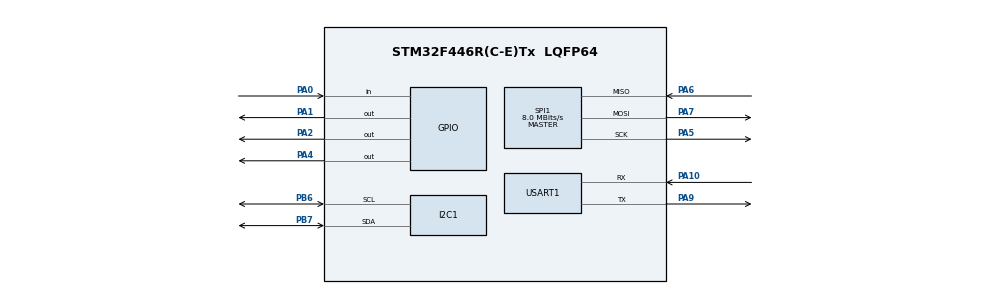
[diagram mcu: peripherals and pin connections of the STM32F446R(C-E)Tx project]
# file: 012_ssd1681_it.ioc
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Dma.I2C1_RX.0.Direction=DMA_PERIPH_TO_MEMORY
Dma.I2C1_RX.0.FIFOMode=DMA_FIFOMODE_DISABLE
Dma.I2C1_RX.0.Instance=DMA1_Stream0
Dma.I2C1_RX.0.MemDataAlignment=DMA_MDATAALIGN_BYTE
Dma.I2C1_RX.0.MemInc=DMA_MINC_ENABLE
Dma.I2C1_RX.0.Mode=DMA_NORMAL
Dma.I2C1_RX.0.PeriphDataAlignment=DMA_PDATAALIGN_BYTE
Dma.I2C1_RX.0.PeriphInc=DMA_PINC_DISABLE
Dma.I2C1_RX.0.Priority=DMA_PRIORITY_LOW
Dma.I2C1_TX.1.Direction=DMA_MEMORY_TO_PERIPH
Dma.I2C1_TX.1.FIFOMode=DMA_FIFOMODE_DISABLE
Dma.I2C1_TX.1.Instance=DMA1_Stream6
Dma.I2C1_TX.1.MemDataAlignment=DMA_MDATAALIGN_BYTE
Dma.I2C1_TX.1.MemInc=DMA_MINC_ENABLE
Dma.I2C1_TX.1.Mode=DMA_NORMAL
Dma.I2C1_TX.1.PeriphDataAlignment=DMA_PDATAALIGN_BYTE
Dma.I2C1_TX.1.PeriphInc=DMA_PINC_DISABLE
Dma.I2C1_TX.1.Priority=DMA_PRIORITY_LOW
Dma.Request0=I2C1_RX
Dma.Request1=I2C1_TX
Dma.Request2=SPI1_RX
Dma.Request3=SPI1_TX
Dma.Request4=USART1_RX
Dma.Request5=USART1_TX
Dma.SPI1_RX.2.Direction=DMA_PERIPH_TO_MEMORY
Dma.SPI1_RX.2.FIFOMode=DMA_FIFOMODE_DISABLE
Dma.SPI1_RX.2.Instance=DMA2_Stream0
Dma.SPI1_RX.2.MemDataAlignment=DMA_MDATAALIGN_BYTE
Dma.SPI1_RX.2.MemInc=DMA_MINC_ENABLE
Dma.SPI1_RX.2.Mode=DMA_NORMAL
Dma.SPI1_RX.2.PeriphDataAlignment=DMA_PDATAALIGN_BYTE
Dma.SPI1_RX.2.PeriphInc=DMA_PINC_DISABLE
Dma.SPI1_RX.2.Priority=DMA_PRIORITY_LOW
Dma.SPI1_TX.3.Direction=DMA_MEMORY_TO_PERIPH
Dma.SPI1_TX.3.FIFOMode=DMA_FIFOMODE_DISABLE
Dma.SPI1_TX.3.Instance=DMA2_Stream3
Dma.SPI1_TX.3.MemDataAlignment=DMA_MDATAALIGN_BYTE
Dma.SPI1_TX.3.MemInc=DMA_MINC_ENABLE
Dma.SPI1_TX.3.Mode=DMA_NORMAL
Dma.SPI1_TX.3.PeriphDataAlignment=DMA_PDATAALIGN_BYTE
Dma.SPI1_TX.3.PeriphInc=DMA_PINC_DISABLE
Dma.SPI1_TX.3.Priority=DMA_PRIORITY_LOW
Dma.USART1_RX.4.Direction=DMA_PERIPH_TO_MEMORY
Dma.USART1_RX.4.FIFOMode=DMA_FIFOMODE_DISABLE
Dma.USART1_RX.4.Instance=DMA2_Stream2
Dma.USART1_RX.4.MemDataAlignment=DMA_MDATAALIGN_BYTE
Dma.USART1_RX.4.MemInc=DMA_MINC_ENABLE
Dma.USART1_RX.4.Mode=DMA_NORMAL
Dma.USART1_RX.4.PeriphDataAlignment=DMA_PDATAALIGN_BYTE
Dma.USART1_RX.4.PeriphInc=DMA_PINC_DISABLE
Dma.USART1_RX.4.Priority=DMA_PRIORITY_LOW
Dma.USART1_TX.5.Direction=DMA_MEMORY_TO_PERIPH
Dma.USART1_TX.5.FIFOMode=DMA_FIFOMODE_DISABLE
Dma.USART1_TX.5.Instance=DMA2_Stream7
Dma.USART1_TX.5.MemDataAlignment=DMA_MDATAALIGN_BYTE
Dma.USART1_TX.5.MemInc=DMA_MINC_ENABLE
Dma.USART1_TX.5.Mode=DMA_NORMAL
Dma.USART1_TX.5.PeriphDataAlignment=DMA_PDATAALIGN_BYTE
Dma.USART1_TX.5.PeriphInc=DMA_PINC_DISABLE
Dma.USART1_TX.5.Priority=DMA_PRIORITY_LOW
Mcu.Family=STM32F4
Mcu.Name=STM32F446R(C-E)Tx
Mcu.Package=LQFP64
NVIC.DMA1_Stream0_IRQn=true\:0\:0\:false\:false\:true\:false\:true\:true
NVIC.DMA1_Stream6_IRQn=true\:0\:0\:false\:false\:true\:false\:true\:true
NVIC.DMA2_Stream0_IRQn=true\:0\:0\:false\:false\:true\:false\:true\:true
NVIC.DMA2_Stream2_IRQn=true\:0\:0\:false\:false\:true\:false\:true\:true
NVIC.DMA2_Stream3_IRQn=true\:0\:0\:false\:false\:true\:false\:true\:true
NVIC.DMA2_Stream7_IRQn=true\:0\:0\:false\:false\:true\:false\:true\:true
NVIC.I2C1_ER_IRQn=true\:0\:0\:false\:false\:true\:true\:true\:true
NVIC.I2C1_EV_IRQn=true\:0\:0\:false\:false\:true\:true\:true\:true
NVIC.PriorityGroup=NVIC_PRIORITYGROUP_4
NVIC.SPI1_IRQn=true\:0\:0\:false\:false\:true\:true\:true\:true
NVIC.USART1_IRQn=true\:0\:0\:false\:false\:true\:true\:true\:true
PA0-WKUP.Signal=GPIO_Input
PA1.Signal=GPIO_Output
PA10.Mode=Asynchronous
PA10.Signal=USART1_RX
PA2.Signal=GPIO_Output
PA4.Signal=GPIO_Output
PA5.Mode=Full_Duplex_Master
PA5.Signal=SPI1_SCK
PA6.Mode=Full_Duplex_Master
PA6.Signal=SPI1_MISO
PA7.Mode=Full_Duplex_Master
PA7.Signal=SPI1_MOSI
PA9.Mode=Asynchronous
PA9.Signal=USART1_TX
PB6.Mode=I2C
PB6.Signal=I2C1_SCL
PB7.Mode=I2C
PB7.Signal=I2C1_SDA
ProjectManager.HeapSize=0x200
ProjectManager.StackSize=0x400
ProjectManager.TargetToolchain=STM32CubeIDE
RCC.CortexFreq_Value=16000000
RCC.USBFreq_Value=96000000
RCC.VCOOutputFreq_Value=192000000
SPI1.CalculateBaudRate=8.0 MBits/s
SPI1.Direction=SPI_DIRECTION_2LINES
SPI1.Mode=SPI_MODE_MASTER
SPI1.VirtualType=VM_MASTER
USART1.VirtualMode=VM_ASYNC
board=custom

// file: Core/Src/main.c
/* USER CODE BEGIN Header */
/**
  ******************************************************************************
  * @file           : main.c
  * @brief          : Main program body
  ******************************************************************************
  * @attention
  *
  * Copyright (c) 2025 STMicroelectronics.
  * All rights reserved.
  *
  * This software is licensed under terms that can be found in the LICENSE file
  * in the root directory of this software component.
  * If no LICENSE file comes with this software, it is provided AS-IS.
  *
  ******************************************************************************
  */
/* USER CODE END Header */
#include "main.h"

/* USER CODE BEGIN Includes */
#include "driver_dht20.h"
#include "driver_dht20_interface.h"
#include "driver_ssd1681.h"
#include "driver_ssd1681_interface.h"
#include <stdio.h>
#include <string.h>
/* USER CODE END Includes */

I2C_HandleTypeDef hi2c1;
DMA_HandleTypeDef hdma_i2c1_rx;
DMA_HandleTypeDef hdma_i2c1_tx;

SPI_HandleTypeDef hspi1;
DMA_HandleTypeDef hdma_spi1_rx;
DMA_HandleTypeDef hdma_spi1_tx;

UART_HandleTypeDef huart1;
DMA_HandleTypeDef hdma_usart1_rx;
DMA_HandleTypeDef hdma_usart1_tx;

/* USER CODE BEGIN PV */
RingBuffer txBuf, rxBuf;
dht20_handle_t dht20_handle;
ssd1681_handle_t ssd1681_handle;

// display buffer for temperature and humidity
char display_buffer[256];
/* USER CODE END PV */

void SystemClock_Config(void);
static void MX_GPIO_Init(void);
static void MX_DMA_Init(void);
static void MX_I2C1_Init(void);
static void MX_SPI1_Init(void);
static void MX_USART1_UART_Init(void);
/* USER CODE BEGIN PFP */
uint8_t dht20_basic_init(void);
uint8_t dht20_basic_deinit(void);
uint8_t dht20_basic_read(uint32_t *temperature_raw, float *temperature_s,
		uint32_t *humidity_raw, uint8_t *humidity_s);

uint8_t ssd1681_basic_init(void);
uint8_t ssd1681_basic_deinit(void);
uint8_t ssd1681_display_temperature_humidity(float temp, uint8_t hum);

uint8_t test_ssd1681_interrupt_performance(void);
/* USER CODE END PFP */

int main(void)
{

  /* USER CODE BEGIN 1 */
	  uint32_t temperature_raw, humidity_raw;
	  float temperature_s;
	  uint8_t humidity_s;
	  uint8_t res;
	  uint32_t last_read_time = 0;
	  uint32_t last_display_update = 0;
	  uint32_t read_count = 0;
  /* USER CODE END 1 */

  /* MCU Configuration--------------------------------------------------------*/

  /* Reset of all peripherals, Initializes the Flash interface and the Systick. */
  HAL_Init();

  /* Configure the system clock */
  SystemClock_Config();

  /* Initialize all configured peripherals */
  MX_GPIO_Init();
  MX_DMA_Init();
  MX_I2C1_Init();
  MX_SPI1_Init();
  MX_USART1_UART_Init();
  /* USER CODE BEGIN 2 */

  RingBuffer_Init(&txBuf);
  RingBuffer_Init(&rxBuf);

  dht20_interface_debug_print("\r\n=== DHT20 Temperature & Humidity Sensor with SSD1681 E-Paper Display ===\r\n");
  dht20_interface_debug_print("System Clock: %lu Hz\r\n", SystemCoreClock);
  dht20_interface_debug_print("I2C Mode: Interrupt-based, SPI Mode: DMA\r\n");

  dht20_interface_debug_print("Initializing DHT20...\r\n");

  // init dht20
  res = dht20_basic_init();
  if (res != 0)
  {
	  dht20_interface_debug_print("DHT20 initialization failed!\r\n");
	  Error_Handler();
  }
  dht20_interface_debug_print("DHT20 initialized successfully!\r\n");

  dht20_interface_debug_print("Initializing SSD1681 E-Paper Display...\r\n");

  // SSD1681
  res = ssd1681_basic_init();
  if (res != 0)
  {
	  dht20_interface_debug_print("SSD1681 initialization failed!\r\n");
	  Error_Handler();
  }
  dht20_interface_debug_print("SSD1681 initialized successfully!\r\n");
  dht20_interface_debug_print("Starting measurements...\r\n\r\n");

  // check dma
//  test_ssd1681_interrupt_performance();

  // clear display initially
  ssd1681_clear(&ssd1681_handle, SSD1681_COLOR_BLACK);
  ssd1681_gram_update(&ssd1681_handle, SSD1681_COLOR_BLACK);
  /* USER CODE END 2 */

  /* Infinite loop */
  /* USER CODE BEGIN WHILE */
  while (1)
  {
	  if (HAL_GetTick() - last_read_time >= 5000)
	  {
		  last_read_time = HAL_GetTick();
		  read_count++;

		  dht20_interface_debug_print("Reading #%lu...\r\n", (unsigned long)read_count);

		  /* read temp and humid */
		  uint32_t read_start_time = HAL_GetTick();
		  res = dht20_basic_read(&temperature_raw, &temperature_s, &humidity_raw, &humidity_s);
		  uint32_t read_duration = HAL_GetTick() - read_start_time;

		  if (res == 0)
		  {
			  // results
			  dht20_interface_debug_print("--- DHT20 Reading #%lu ---\r\n", (unsigned long)read_count);
			  dht20_interface_debug_print("Temperature: %.2f°C (Raw: %lu)\r\n",
					  temperature_s, (unsigned long)temperature_raw);
			  dht20_interface_debug_print("Humidity: %d%% (Raw: %lu)\r\n",
					  humidity_s, (unsigned long)humidity_raw);
			  dht20_interface_debug_print("Read Duration: %lu ms\r\n", (unsigned long)read_duration);
			  dht20_interface_debug_print("Timestamp: %lu ms\r\n", (unsigned long)HAL_GetTick());

			  // check values
			  if (temperature_s < -40.0f || temperature_s > 80.0f)
			  {
				  dht20_interface_debug_print("WARNING: Temperature out of expected range!\r\n");
			  }
			  if (humidity_s > 100)
			  {
				  dht20_interface_debug_print("WARNING: Humidity out of expected range!\r\n");
			  }

			  // update display with new data every 10 seconds or on first successful read
			  if (HAL_GetTick() - last_display_update >= 10000 || last_display_update == 0)
			  {
				  last_display_update = HAL_GetTick();
				  dht20_interface_debug_print("Updating E-Paper Display...\r\n");

				  res = ssd1681_display_temperature_humidity(temperature_s, humidity_s);
				  if (res == 0)
				  {
					  dht20_interface_debug_print("Display updated successfully!\r\n");
				  }
				  else
				  {
					  dht20_interface_debug_print("Display update failed!\r\n");
				  }
			  }

			  dht20_interface_debug_print("\r\n");
		  }
		  else
		  {
			  dht20_interface_debug_print("DHT20 read failed! Error code: %d\r\n", res);
			  dht20_interface_debug_print("Read Duration: %lu ms\r\n", (unsigned long)read_duration);
			  dht20_interface_debug_print("Attempting to continue...\r\n\r\n");
		  }
	  }
	  HAL_Delay(100);
    /* USER CODE END WHILE */

  }
}

void SystemClock_Config(void)
{
  RCC_OscInitTypeDef RCC_OscInitStruct = {0};
  RCC_ClkInitTypeDef RCC_ClkInitStruct = {0};

  /** Configure the main internal regulator output voltage
  */
  __HAL_RCC_PWR_CLK_ENABLE();
  __HAL_PWR_VOLTAGESCALING_CONFIG(PWR_REGULATOR_VOLTAGE_SCALE3);

  /** Initializes the RCC Oscillators according to the specified parameters
  * in the RCC_OscInitTypeDef structure.
  */
  RCC_OscInitStruct.OscillatorType = RCC_OSCILLATORTYPE_HSI;
  RCC_OscInitStruct.HSIState = RCC_HSI_ON;
  RCC_OscInitStruct.HSICalibrationValue = RCC_HSICALIBRATION_DEFAULT;
  RCC_OscInitStruct.PLL.PLLState = RCC_PLL_NONE;
  if (HAL_RCC_OscConfig(&RCC_OscInitStruct) != HAL_OK)
  {
    Error_Handler();
  }

  /** Initializes the CPU, AHB and APB buses clocks
  */
  RCC_ClkInitStruct.ClockType = RCC_CLOCKTYPE_HCLK|RCC_CLOCKTYPE_SYSCLK
                              |RCC_CLOCKTYPE_PCLK1|RCC_CLOCKTYPE_PCLK2;
  RCC_ClkInitStruct.SYSCLKSource = RCC_SYSCLKSOURCE_HSI;
  RCC_ClkInitStruct.AHBCLKDivider = RCC_SYSCLK_DIV1;
  RCC_ClkInitStruct.APB1CLKDivider = RCC_HCLK_DIV1;
  RCC_ClkInitStruct.APB2CLKDivider = RCC_HCLK_DIV1;

  if (HAL_RCC_ClockConfig(&RCC_ClkInitStruct, FLASH_LATENCY_0) != HAL_OK)
  {
    Error_Handler();
  }
}

static void MX_I2C1_Init(void)
{

  hi2c1.Instance = I2C1;
  hi2c1.Init.ClockSpeed = 100000;
  hi2c1.Init.DutyCycle = I2C_DUTYCYCLE_2;
  hi2c1.Init.OwnAddress1 = 0;
  hi2c1.Init.AddressingMode = I2C_ADDRESSINGMODE_7BIT;
  hi2c1.Init.DualAddressMode = I2C_DUALADDRESS_DISABLE;
  hi2c1.Init.OwnAddress2 = 0;
  hi2c1.Init.GeneralCallMode = I2C_GENERALCALL_DISABLE;
  hi2c1.Init.NoStretchMode = I2C_NOSTRETCH_DISABLE;
  if (HAL_I2C_Init(&hi2c1) != HAL_OK)
  {
    Error_Handler();
  }

}

static void MX_SPI1_Init(void)
{

  /* SPI1 parameter configuration*/
  hspi1.Instance = SPI1;
  hspi1.Init.Mode = SPI_MODE_MASTER;
  hspi1.Init.Direction = SPI_DIRECTION_2LINES;
  hspi1.Init.DataSize = SPI_DATASIZE_8BIT;
  hspi1.Init.CLKPolarity = SPI_POLARITY_LOW;
  hspi1.Init.CLKPhase = SPI_PHASE_1EDGE;
  hspi1.Init.NSS = SPI_NSS_SOFT;
  hspi1.Init.BaudRatePrescaler = SPI_BAUDRATEPRESCALER_2;
  hspi1.Init.FirstBit = SPI_FIRSTBIT_MSB;
  hspi1.Init.TIMode = SPI_TIMODE_DISABLE;
  hspi1.Init.CRCCalculation = SPI_CRCCALCULATION_DISABLE;
  hspi1.Init.CRCPolynomial = 10;
  if (HAL_SPI_Init(&hspi1) != HAL_OK)
  {
    Error_Handler();
  }

}

static void MX_USART1_UART_Init(void)
{

  huart1.Instance = USART1;
  huart1.Init.BaudRate = 115200;
  huart1.Init.WordLength = UART_WORDLENGTH_8B;
  huart1.Init.StopBits = UART_STOPBITS_1;
  huart1.Init.Parity = UART_PARITY_NONE;
  huart1.Init.Mode = UART_MODE_TX_RX;
  huart1.Init.HwFlowCtl = UART_HWCONTROL_NONE;
  huart1.Init.OverSampling = UART_OVERSAMPLING_16;
  if (HAL_UART_Init(&huart1) != HAL_OK)
  {
    Error_Handler();
  }

}

static void MX_DMA_Init(void)
{

  /* DMA controller clock enable */
  __HAL_RCC_DMA1_CLK_ENABLE();
  __HAL_RCC_DMA2_CLK_ENABLE();

  /* DMA interrupt init */
  /* DMA1_Stream0_IRQn interrupt configuration */
  HAL_NVIC_SetPriority(DMA1_Stream0_IRQn, 0, 0);
  HAL_NVIC_EnableIRQ(DMA1_Stream0_IRQn);
  /* DMA1_Stream6_IRQn interrupt configuration */
  HAL_NVIC_SetPriority(DMA1_Stream6_IRQn, 0, 0);
  HAL_NVIC_EnableIRQ(DMA1_Stream6_IRQn);
  /* DMA2_Stream0_IRQn interrupt configuration */
  HAL_NVIC_SetPriority(DMA2_Stream0_IRQn, 0, 0);
  HAL_NVIC_EnableIRQ(DMA2_Stream0_IRQn);
  /* DMA2_Stream2_IRQn interrupt configuration */
  HAL_NVIC_SetPriority(DMA2_Stream2_IRQn, 0, 0);
  HAL_NVIC_EnableIRQ(DMA2_Stream2_IRQn);
  /* DMA2_Stream3_IRQn interrupt configuration */
  HAL_NVIC_SetPriority(DMA2_Stream3_IRQn, 0, 0);
  HAL_NVIC_EnableIRQ(DMA2_Stream3_IRQn);
  /* DMA2_Stream7_IRQn interrupt configuration */
  HAL_NVIC_SetPriority(DMA2_Stream7_IRQn, 0, 0);
  HAL_NVIC_EnableIRQ(DMA2_Stream7_IRQn);

}

static void MX_GPIO_Init(void)
{
  GPIO_InitTypeDef GPIO_InitStruct = {0};

  /* GPIO Ports Clock Enable */
  __HAL_RCC_GPIOA_CLK_ENABLE();
  __HAL_RCC_GPIOB_CLK_ENABLE();

  /*Configure GPIO pin Output Level */
  HAL_GPIO_WritePin(GPIOA, GPIO_PIN_1|GPIO_PIN_2|GPIO_PIN_4, GPIO_PIN_RESET);

  /*Configure GPIO pin : PA0 */
  GPIO_InitStruct.Pin = GPIO_PIN_0;
  GPIO_InitStruct.Mode = GPIO_MODE_INPUT;
  GPIO_InitStruct.Pull = GPIO_NOPULL;
  HAL_GPIO_Init(GPIOA, &GPIO_InitStruct);

  /*Configure GPIO pins : PA1 PA2 PA4 */
  GPIO_InitStruct.Pin = GPIO_PIN_1|GPIO_PIN_2|GPIO_PIN_4;
  GPIO_InitStruct.Mode = GPIO_MODE_OUTPUT_PP;
  GPIO_InitStruct.Pull = GPIO_NOPULL;
  GPIO_InitStruct.Speed = GPIO_SPEED_FREQ_LOW;
  HAL_GPIO_Init(GPIOA, &GPIO_InitStruct);

}

/* USER CODE BEGIN 4 */
uint8_t UART_Transmit(UART_HandleTypeDef *huart, uint8_t *pData, uint16_t len)
{
  if (huart->gState == HAL_UART_STATE_READY)
  {
    if (HAL_UART_Transmit_IT(huart, pData, len) == HAL_OK)
    {
      return 1;
    }
  }

  // If UART is busy, store in ring buffer
  if (RingBuffer_Write(&txBuf, pData, len) == RING_BUFFER_OK)
  {
    return 1;
  }

  return 0;
}

uint8_t dht20_basic_init(void)
{
    uint8_t res;

    /* link interface function */
    DRIVER_DHT20_LINK_INIT(&dht20_handle, dht20_handle_t);
    DRIVER_DHT20_LINK_IIC_INIT(&dht20_handle, dht20_interface_iic_init);
    DRIVER_DHT20_LINK_IIC_DEINIT(&dht20_handle, dht20_interface_iic_deinit);
    DRIVER_DHT20_LINK_IIC_READ_CMD(&dht20_handle, dht20_interface_iic_read_cmd);
    DRIVER_DHT20_LINK_IIC_WRITE_CMD(&dht20_handle, dht20_interface_iic_write_cmd);
    DRIVER_DHT20_LINK_DELAY_MS(&dht20_handle, dht20_interface_delay_ms);
    DRIVER_DHT20_LINK_DEBUG_PRINT(&dht20_handle, dht20_interface_debug_print);

    /* dht20 init */
    res = dht20_init(&dht20_handle);
    if (res != 0)
    {
        dht20_interface_debug_print("dht20: init failed.\n");
        return 1;
    }

    return 0;
}

uint8_t dht20_basic_deinit(void)
{
    uint8_t res;

    /* close dht20 */
    res = dht20_deinit(&dht20_handle);
    if (res != 0)
    {
        return 1;
    }

    return 0;
}

uint8_t dht20_basic_read(uint32_t *temperature_raw, float *temperature_s,
		uint32_t *humidity_raw, uint8_t *humidity_s)
{
    uint8_t res;

    /* read temperature and humidity */
    res = dht20_read_temperature_humidity(&dht20_handle, temperature_raw, temperature_s,
                                          humidity_raw, humidity_s);
    if (res != 0)
    {
        return 1;
    }

    return 0;
}

uint8_t ssd1681_basic_init(void)
{
	uint8_t res;

	res = ssd1681_interface_cs_gpio_init();
	if (res != 0)
	{
		ssd1681_interface_debug_print("ssd1681: cs gpio init failed.\n");
		return 1;
	}

	// link interface function
    DRIVER_SSD1681_LINK_INIT(&ssd1681_handle, ssd1681_handle_t);
    DRIVER_SSD1681_LINK_SPI_INIT(&ssd1681_handle, ssd1681_interface_spi_init);
    DRIVER_SSD1681_LINK_SPI_DEINIT(&ssd1681_handle, ssd1681_interface_spi_deinit);
    DRIVER_SSD1681_LINK_SPI_WRITE_CMD(&ssd1681_handle, ssd1681_interface_spi_write_cmd);
    DRIVER_SSD1681_LINK_SPI_READ_CMD(&ssd1681_handle, ssd1681_interface_spi_read_cmd);
    DRIVER_SSD1681_LINK_SPI_CMD_DATA_GPIO_INIT(&ssd1681_handle, ssd1681_interface_spi_cmd_data_gpio_init);
    DRIVER_SSD1681_LINK_SPI_CMD_DATA_GPIO_DEINIT(&ssd1681_handle, ssd1681_interface_spi_cmd_data_gpio_deinit);
    DRIVER_SSD1681_LINK_SPI_CMD_DATA_GPIO_WRITE(&ssd1681_handle, ssd1681_interface_spi_cmd_data_gpio_write);
    DRIVER_SSD1681_LINK_RESET_GPIO_INIT(&ssd1681_handle, ssd1681_interface_reset_gpio_init);
    DRIVER_SSD1681_LINK_RESET_GPIO_DEINIT(&ssd1681_handle, ssd1681_interface_reset_gpio_deinit);
    DRIVER_SSD1681_LINK_RESET_GPIO_WRITE(&ssd1681_handle, ssd1681_interface_reset_gpio_write);
    DRIVER_SSD1681_LINK_BUSY_GPIO_INIT(&ssd1681_handle, ssd1681_interface_busy_gpio_init);
    DRIVER_SSD1681_LINK_BUSY_GPIO_DEINIT(&ssd1681_handle, ssd1681_interface_busy_gpio_deinit);
    DRIVER_SSD1681_LINK_BUSY_GPIO_READ(&ssd1681_handle, ssd1681_interface_busy_gpio_read);
    DRIVER_SSD1681_LINK_DELAY_MS(&ssd1681_handle, ssd1681_interface_delay_ms);
    DRIVER_SSD1681_LINK_DEBUG_PRINT(&ssd1681_handle, ssd1681_interface_debug_print);

    res = ssd1681_init(&ssd1681_handle);
    if (res != 0)
    {
        ssd1681_interface_debug_print("ssd1681: init failed.\n");
        return 1;
    }

    return 0;
}

uint8_t ssd1681_basic_deinit(void)
{
    uint8_t res;

    // close ssd1681
    res = ssd1681_deinit(&ssd1681_handle);
    if (res != 0)
    {
        return 1;
    }

    return 0;
}

uint8_t ssd1681_display_temperature_humidity(float temp, uint8_t hum)
{
	uint8_t res;
	char temp_str[32];
	char hum_str[32];
	char time_str[32];
	uint32_t current_time = HAL_GetTick() / 1000;

	// clear the display first
	res = ssd1681_gram_clear(&ssd1681_handle, SSD1681_COLOR_BLACK);
	if (res != 0)
	{
		return 1;
	}

	// format temperature string
	snprintf(temp_str, sizeof(temp_str), "temp: %.1f C", temp);

	// format humidity string
	snprintf(hum_str, sizeof(hum_str), "humidity: %d%%", hum);

	// format time string
	uint32_t hours = current_time / 3600;
	uint32_t minutes = (current_time % 3600) / 60;
	uint32_t seconds = current_time % 60;
	snprintf(time_str, sizeof(time_str), "time: %02lu:%02lu:%02lu",
			(unsigned long)hours, (unsigned long)minutes, (unsigned long)seconds);

	// write text to display
	res = ssd1681_gram_write_string(&ssd1681_handle, SSD1681_COLOR_BLACK, 10, 30,
	                                    temp_str, strlen(temp_str), 1, SSD1681_FONT_16);
    if (res != 0)
    {
        return 1;
    }

    res = ssd1681_gram_write_string(&ssd1681_handle, SSD1681_COLOR_BLACK, 10, 60,
                                        hum_str, strlen(hum_str), 1, SSD1681_FONT_16);
    if (res != 0)
    {
        return 1;
    }

    res = ssd1681_gram_write_string(&ssd1681_handle, SSD1681_COLOR_BLACK, 10, 90,
                                        time_str, strlen(time_str), 1, SSD1681_FONT_12);
    if (res != 0)
    {
        return 1;
    }

    // update the display to show the content
    res = ssd1681_gram_update(&ssd1681_handle, SSD1681_COLOR_BLACK);
    if (res != 0)
    {
        return 1;
    }

    return 0;
}

/**
 * @brief  SPI Transmit Complete Callback
 * @param  hspi pointer to a SPI_HandleTypeDef structure
 */
void HAL_SPI_TxCpltCallback(SPI_HandleTypeDef *hspi)
{
    if (hspi->Instance == SPI1)
    {
        ssd1681_spi_tx_complete_callback(hspi);
    }
}

/**
 * @brief  SPI Receive Complete Callback
 * @param  hspi pointer to a SPI_HandleTypeDef structure
 */
void HAL_SPI_RxCpltCallback(SPI_HandleTypeDef *hspi)
{
    if (hspi->Instance == SPI1)
    {
        ssd1681_spi_rx_complete_callback(hspi);
    }
}

/**
 * @brief  SPI Error Callback
 * @param  hspi pointer to a SPI_HandleTypeDef structure
 */
void HAL_SPI_ErrorCallback(SPI_HandleTypeDef *hspi)
{
    if (hspi->Instance == SPI1)
    {
        ssd1681_spi_error_callback(hspi);
    }
}

uint8_t test_ssd1681_interrupt_performance(void)
{
	uint8_t test_data[100];
	uint32_t start_time, end_time;

	// fill test data
	for (int i = 0; i < 100; i++)
	{
		test_data[i] = (uint8_t)i;
	}

	dht20_interface_debug_print("Testing SSD1681 DMA Performance...\r\n");

	// check write operation
	start_time = HAL_GetTick();
	uint8_t result = ssd1681_interface_spi_write_cmd(test_data, 100);
	end_time = HAL_GetTick();

    if (result == 0)
    {
        dht20_interface_debug_print("SPI DMA Write Test: PASSED (%lu ms)\r\n", end_time - start_time);
    }
    else
    {
        dht20_interface_debug_print("SPI DMA Write Test: FAILED\r\n");
        return 1;
    }

    // check read operation
    uint8_t read_buffer[10];
    start_time = HAL_GetTick();
    result = ssd1681_interface_spi_read_cmd(read_buffer, 10);
    end_time = HAL_GetTick();

    if (result == 0)
    {
        dht20_interface_debug_print("SPI DMA Read Test: PASSED (%lu ms)\r\n", end_time - start_time);
    }
    else
    {
        dht20_interface_debug_print("SPI DMA Read Test: FAILED\r\n");
        return 1;
    }

    dht20_interface_debug_print("SSD1681 DMA Mode: All tests PASSED\r\n");
    return 0;
}
/* USER CODE END 4 */

void Error_Handler(void)
{
  __disable_irq();
  while (1)
  {
  }
}
